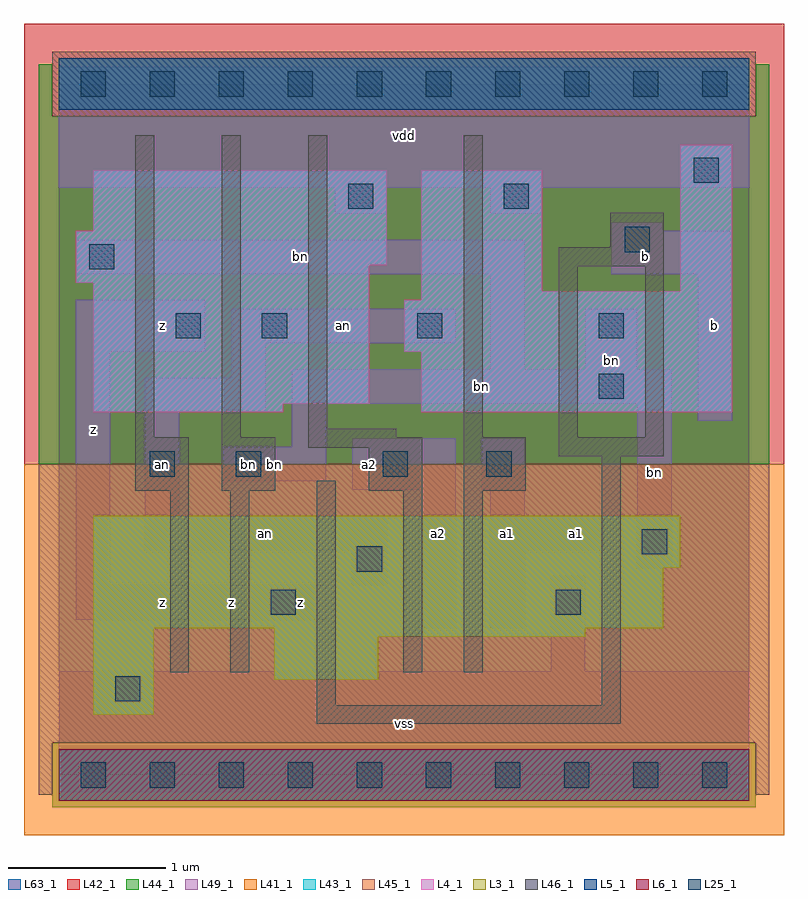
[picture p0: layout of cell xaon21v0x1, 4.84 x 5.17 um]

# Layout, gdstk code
import gdstk
lib = gdstk.Library(unit=1e-6, precision=1e-09)
def R(c, l, rs):  # rectangles x0, y0, x1, y1
    for r in rs: c.add(gdstk.rectangle(r[:2], r[2:], *l))
def A(c, l, x, y, w, h, nx, ny, dx, dy):  # array of equal rectangles
    R(c, l, [(x+i*dx, y+j*dy, x+i*dx+w, y+j*dy+h) for i in range(nx) for j in range(ny)])
L3_1 = (3, 1)
L4_1 = (4, 1)
L5_1 = (5, 1)
L6_1 = (6, 1)
L25_1 = (25, 1)
L41_1 = (41, 1)
L42_1 = (42, 1)
L43_1 = (43, 1)
L44_1 = (44, 1)
L45_1 = (45, 1)
L46_1 = (46, 1)
L49_1 = (49, 1)
L63_1 = (63, 1)

xaon21v0x1 = lib.new_cell('xaon21v0x1')
R(xaon21v0x1, L3_1, [(0.22,0.385,0.605,0.935), (1.375,0.605,2.035,0.88), (1.375,0.88,3.355,0.935), (0.22,0.935,3.85,1.32), (0.22,1.32,3.96,1.65)])
R(xaon21v0x1, L4_1, [(0.22,2.31,1.43,2.365), (2.31,2.31,4.29,2.695), (0.22,2.365,1.98,3.135), (2.2,2.695,4.29,3.025), (2.31,3.025,4.29,3.08), (2.31,3.08,3.08,3.85), (3.96,3.08,4.29,4.015), (0.11,3.135,1.98,3.245), (0.11,3.245,2.09,3.465), (0.22,3.465,2.09,3.85)])
R(xaon21v0x1, L5_1, [(0,4.235,4.4,4.565)])
R(xaon21v0x1, L6_1, [(0,-0.165,4.4,0.165)])
A(xaon21v0x1, L25_1, 0.14, -0.08, 0.16, 0.16, 10, 2, 0.44, 4.4)
R(xaon21v0x1, L25_1, [(0.36,0.47,0.52,0.63), (1.35,1.02,1.51,1.18), (3.165,1.02,3.325,1.18), (1.9,1.295,2.06,1.455), (3.715,1.405,3.875,1.565), (0.58,1.9,0.74,2.06), (1.13,1.9,1.29,2.06), (2.065,1.9,2.225,2.06), (2.725,1.9,2.885,2.06), (3.44,2.395,3.6,2.555), (0.745,2.78,0.905,2.94), (1.295,2.78,1.455,2.94), (2.285,2.78,2.445,2.94), (3.44,2.78,3.6,2.94), (0.195,3.22,0.355,3.38), (3.605,3.33,3.765,3.49), (1.845,3.605,2.005,3.765), (2.835,3.605,2.995,3.765), (4.045,3.77,4.205,3.93)])
R(xaon21v0x1, L41_1, [(-0.22,-0.385,4.62,1.98)])
R(xaon21v0x1, L42_1, [(-0.22,1.98,4.62,4.785)])
R(xaon21v0x1, L43_1, [(0,-0.165,4.4,0.165), (0.22,0.385,0.605,0.935), (1.375,0.605,2.035,0.88), (1.375,0.88,3.355,0.935), (0.22,0.935,3.85,1.32), (0.22,1.32,3.96,1.65), (0.22,2.31,1.43,2.365), (2.31,2.31,4.29,2.695), (0.22,2.365,1.98,3.135), (2.2,2.695,4.29,3.025), (2.31,3.025,4.29,3.08), (2.31,3.08,3.08,3.85), (3.96,3.08,4.29,4.015), (0.11,3.135,1.98,3.245), (0.11,3.245,2.09,3.465), (0.22,3.465,2.09,3.85), (0,4.235,4.4,4.565)])
R(xaon21v0x1, L44_1, [(-0.04,-0.205,4.44,0.205), (-0.125,1.98,4.525,4.195), (-0.125,4.195,-0.04,4.525), (4.44,4.195,4.525,4.525)])
R(xaon21v0x1, L45_1, [(-0.125,-0.125,-0.04,0.205), (4.44,-0.125,4.525,0.205), (-0.125,0.205,4.525,1.98), (-0.04,4.195,4.44,4.605)])
R(xaon21v0x1, L46_1, [(1.645,0.325,3.58,0.445), (1.645,0.445,1.765,1.875), (3.46,0.445,3.58,2.03), (0.71,0.655,0.83,1.81), (1.095,0.655,1.215,1.81), (2.195,0.655,2.315,1.81), (2.58,0.655,2.7,1.81), (0.49,1.81,0.83,2.15), (1.04,1.81,1.38,2.15), (1.975,1.81,2.315,2.085), (2.58,1.81,2.975,2.15), (3.185,2.03,3.855,2.15), (1.59,2.085,2.315,2.15), (0.49,2.15,0.61,4.075), (1.04,2.15,1.16,4.075), (1.59,2.15,2.15,2.205), (2.58,2.15,2.7,4.075), (3.185,2.15,3.305,3.24), (3.735,2.15,3.855,3.24), (1.59,2.205,1.71,4.075), (3.185,3.24,3.855,3.36), (3.515,3.36,3.855,3.58)])
R(xaon21v0x1, L49_1, [(0,-0.11,4.4,0.66), (3.135,0.66,3.355,1.265), (2.31,0.935,2.53,1.815), (2.75,0.935,2.97,1.43), (0.11,0.99,1.705,1.21), (0.11,1.21,0.33,2.695), (1.87,1.21,2.09,1.43), (3.685,1.32,3.905,2.365), (0.55,1.43,2.09,1.65), (2.75,1.43,3.465,1.65), (0.55,1.65,0.77,2.31), (2.75,1.65,2.97,1.815), (1.87,1.815,2.53,2.145), (2.695,1.815,2.97,2.145), (1.045,1.87,1.705,2.09), (1.485,2.09,1.705,2.365), (4.07,2.255,4.29,3.19), (0.55,2.31,1.32,2.53), (1.485,2.365,3.905,2.585), (1.1,2.53,1.32,2.75), (2.75,2.585,2.97,3.19), (3.355,2.585,3.685,2.97), (0.11,2.695,0.935,3.025), (1.1,2.75,2.53,2.97), (0.11,3.19,2.97,3.41), (3.52,3.19,4.29,3.465), (3.52,3.465,3.85,3.52), (1.76,3.575,2.09,3.74), (2.75,3.575,3.08,3.74), (0,3.74,4.4,4.51)])
R(xaon21v0x1, L63_1, [(0,0,4.4,4.4)])
xaon21v0x1.add(gdstk.Label('an', (0.66,1.98), layer=49, texttype=1))
xaon21v0x1.add(gdstk.Label('bn', (1.21,1.98), layer=49, texttype=1))
xaon21v0x1.add(gdstk.Label('z', (0.22,2.2), layer=49, texttype=1))
xaon21v0x1.add(gdstk.Label('z', (0.66,1.1), layer=49, texttype=1))
xaon21v0x1.add(gdstk.Label('z', (1.1,1.1), layer=49, texttype=1))
xaon21v0x1.add(gdstk.Label('z', (1.54,1.1), layer=49, texttype=1))
xaon21v0x1.add(gdstk.Label('an', (0.66,1.98), layer=49, texttype=1))
xaon21v0x1.add(gdstk.Label('z', (0.66,2.86), layer=49, texttype=1))
xaon21v0x1.add(gdstk.Label('vss', (2.2,0.33), layer=49, texttype=1))
xaon21v0x1.add(gdstk.Label('an', (1.32,1.54), layer=49, texttype=1))
xaon21v0x1.add(gdstk.Label('a2', (2.42,1.54), layer=49, texttype=1))
xaon21v0x1.add(gdstk.Label('bn', (1.375,1.98), layer=49, texttype=1))
xaon21v0x1.add(gdstk.Label('a2', (1.98,1.98), layer=49, texttype=1))
xaon21v0x1.add(gdstk.Label('an', (1.815,2.86), layer=49, texttype=1))
xaon21v0x1.add(gdstk.Label('vdd', (2.2,4.07), layer=49, texttype=1))
xaon21v0x1.add(gdstk.Label('a1', (2.86,1.54), layer=49, texttype=1))
xaon21v0x1.add(gdstk.Label('a1', (3.3,1.54), layer=49, texttype=1))
xaon21v0x1.add(gdstk.Label('bn', (1.54,3.3), layer=49, texttype=1))
xaon21v0x1.add(gdstk.Label('bn', (3.795,1.925), layer=49, texttype=1))
xaon21v0x1.add(gdstk.Label('bn', (2.695,2.475), layer=49, texttype=1))
xaon21v0x1.add(gdstk.Label('b', (4.18,2.86), layer=49, texttype=1))
xaon21v0x1.add(gdstk.Label('bn', (3.52,2.64), layer=49, texttype=1))
xaon21v0x1.add(gdstk.Label('b', (3.74,3.3), layer=49, texttype=1))

lib.write_gds('xaon21v0x1.gds')
